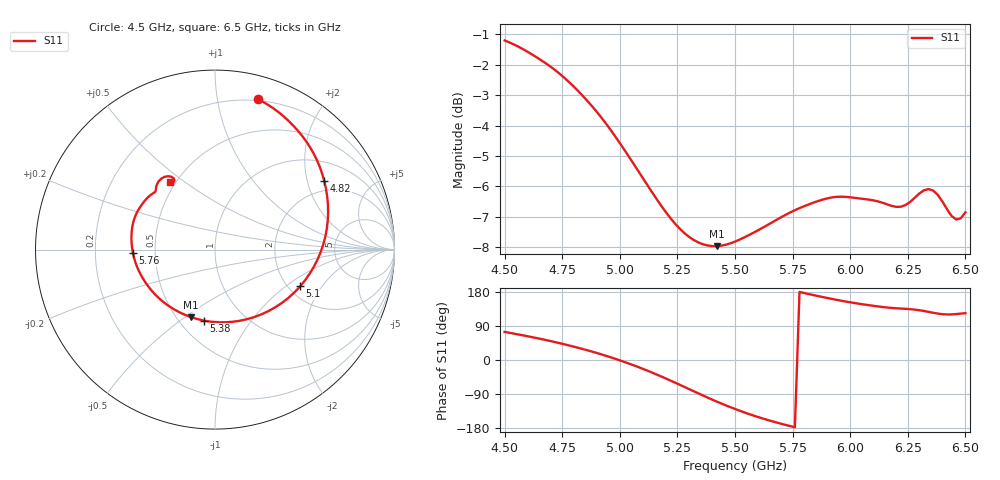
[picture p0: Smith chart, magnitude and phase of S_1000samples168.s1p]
! TOUCHSTONE file generated by CST MICROWAVE STUDIO
! Date and time: Thu Oct 27 05:47:09 2022
! Project name: L.cst
! Parameters = {Di=1.27; Epsilon_r=1.56; InnerDiameter=1.27; Length=2; Lf=10; Lg=60; OuterConductorThickness=0.2921; OuterDiameter=3.6; Wf=3; Wp=41.2; de=1.5; df=6.8; g=0.8; gx=4.0321; gy=1.91884; h=2.34; hf=1.524; px=14.1373; py=10.7827; w=9.7; wx=10.1052; wy=8.86391}
! Header version: 2018
! Port assignment regex: !\s*Touchstone port\s*([0-9]+)\s*=\s*(CST MWS port|CST DS port)\s*([0-9]+|Zmin|Zmax)\s*\(\"(.*)\"\)(\s*mode\s*([0-9]+))?.*
! Touchstone port assignment:
! Touchstone port 1 = CST MWS port 1 ("")
# GHz S DB R 50
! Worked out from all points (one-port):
!   101 points, 4.5 GHz to 6.5 GHz, reference 50 ohm
!   lowest |S11| = -8.0 dB at 5.42 GHz (marker M1), VSWR 2.33, Z = 29.5 - j26.4 ohm
!   |S11| at or under -10 dB: nowhere
!   S11 on the Smith chart (normalised r, x): 4.5 GHz: 0.19, +1.31; 4.82 GHz: 1.62, +2.56; 5.1 GHz: 2.31, -1.29; 5.38 GHz: 0.65, -0.62; 5.76 GHz: 0.37, -0.02; 6.5 GHz: 0.47, +0.44
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4.5  -1.20 74.0
4.56  -1.40 67.3
4.64  -1.76 57.7
4.76  -2.43 41.3
4.82  -2.87 32.1
4.92  -3.74 14.8
5  -4.58 -0.9
5.04  -5.03 -9.5
5.1  -5.73 -23.3
5.18  -6.64 -43.5
5.26  -7.40 -65.3
5.32  -7.77 -82.2
5.38  -7.95 -98.8
5.42  -7.97 -109.5
5.5  -7.82 -129.2
5.56  -7.61 -142.5
5.62  -7.37 -154.3
5.7  -7.02 -168.2
5.76  -6.79 -177.5
5.88  -6.44 166.2
6  -6.36 152.2
6.12  -6.50 141.4
6.2  -6.68 136.5
6.26  -6.52 134.2
6.32  -6.13 129.4
6.38  -6.28 122.5
6.44  -6.98 120.3
6.5  -6.86 123.4
